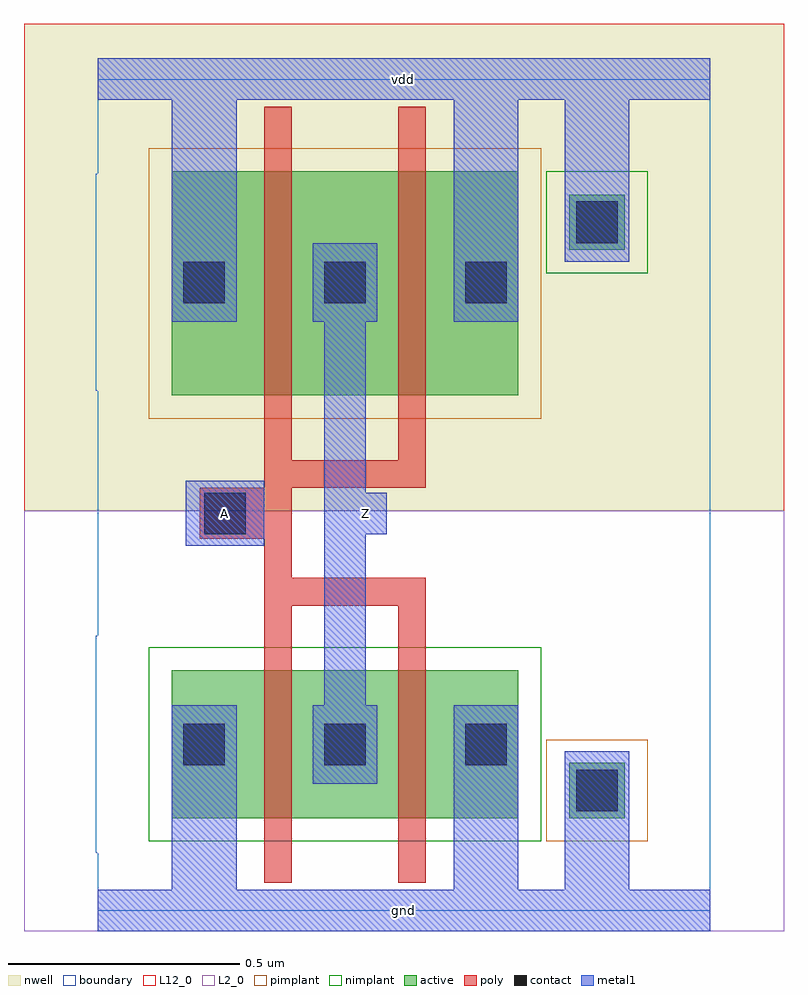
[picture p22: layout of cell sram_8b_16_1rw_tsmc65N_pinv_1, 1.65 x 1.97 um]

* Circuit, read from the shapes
.subckt sram_8b_16_1rw_tsmc65N_pinv_1 A Z gnd vdd
M1 Z A gnd gnd nfet w=0.32u l=0.06u m=2
M2 Z A vdd vdd pfet w=0.485u l=0.06u m=2
.ends

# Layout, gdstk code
import gdstk
lib = gdstk.Library(unit=1e-6, precision=1e-09)
def R(c, l, rs):  # rectangles x0, y0, x1, y1
    for r in rs: c.add(gdstk.rectangle(r[:2], r[2:], *l))
def A(c, l, x, y, w, h, nx, ny, dx, dy):  # array of equal rectangles
    R(c, l, [(x+i*dx, y+j*dy, x+i*dx+w, y+j*dy+h) for i in range(nx) for j in range(ny)])
L2_0 = (2, 0)
nwell = (3, 0)
active = (6, 0)
L12_0 = (12, 0)
poly = (17, 0)
pimplant = (25, 0)
nimplant = (26, 0)
contact = (30, 0)
metal1 = (31, 0)
boundary = (108, 0)

sram_8b_16_1rw_tsmc65n_c = lib.new_cell('sram_8b_16_1rw_tsmc65N_contact_11')
R(sram_8b_16_1rw_tsmc65n_c, nwell, [(-0.165,-0.15,0.305,0.32)])
R(sram_8b_16_1rw_tsmc65n_c, active, [(0.01,0.025,0.13,0.145)])
R(sram_8b_16_1rw_tsmc65n_c, pimplant, [(-0.04,-0.025,0.18,0.195)])
R(sram_8b_16_1rw_tsmc65n_c, contact, [(0.025,0.04,0.115,0.13)])
R(sram_8b_16_1rw_tsmc65n_c, metal1, [(0,0,0.14,0.17)])
R(sram_8b_16_1rw_tsmc65n_c, boundary, [(-0.165,-0.15,0.305,0.32)])

sram_8b_16_1rw_tsmc65n_p = lib.new_cell('sram_8b_16_1rw_tsmc65N_pmos_m2_w0_485_sm1_dm1_da_p')
R(sram_8b_16_1rw_tsmc65n_p, nwell, [(-0.16,-0.16,0.91,0.645)])
R(sram_8b_16_1rw_tsmc65n_p, active, [(0,0,0.75,0.485)])
R(sram_8b_16_1rw_tsmc65n_p, L12_0, [(-0.16,-0.16,0.91,0.645)])
R(sram_8b_16_1rw_tsmc65n_p, poly, [(0.2,-0.2,0.55,-0.14), (0.2,-0.14,0.26,0.625), (0.49,-0.14,0.55,0.625)])
R(sram_8b_16_1rw_tsmc65n_p, pimplant, [(-0.05,-0.05,0.8,0.535)])
A(sram_8b_16_1rw_tsmc65n_p, metal1, 0, 0.16, 0.14, 0.17, 3, 1, 0.305, 0)
R(sram_8b_16_1rw_tsmc65n_p, boundary, [(-0.16,-0.2,0.91,0.645)])
sram_8b_16_1rw_tsmc65n_p.add(gdstk.Reference(sram_8b_16_1rw_tsmc65n_c, (0,0.16)))
sram_8b_16_1rw_tsmc65n_p.add(gdstk.Reference(sram_8b_16_1rw_tsmc65n_c, (0.305,0.16)))
sram_8b_16_1rw_tsmc65n_p.add(gdstk.Reference(sram_8b_16_1rw_tsmc65n_c, (0.61,0.16)))
sram_8b_16_1rw_tsmc65n_p.add(gdstk.Label('G', (0.375,-0.17), layer=17, texttype=0))
sram_8b_16_1rw_tsmc65n_p.add(gdstk.Label('S', (0.07,0.245), layer=31, texttype=0))
sram_8b_16_1rw_tsmc65n_p.add(gdstk.Label('S', (0.68,0.245), layer=31, texttype=0))
sram_8b_16_1rw_tsmc65n_p.add(gdstk.Label('D', (0.375,0.245), layer=31, texttype=0))

c_sram_8b_16_1rw_tsmc65n_c = lib.new_cell('sram_8b_16_1rw_tsmc65N_contact_10')
R(c_sram_8b_16_1rw_tsmc65n_c, L2_0, [(-0.165,-0.15,0.305,0.32)])
R(c_sram_8b_16_1rw_tsmc65n_c, active, [(0.01,0.025,0.13,0.145)])
R(c_sram_8b_16_1rw_tsmc65n_c, nimplant, [(-0.04,-0.025,0.18,0.195)])
R(c_sram_8b_16_1rw_tsmc65n_c, contact, [(0.025,0.04,0.115,0.13)])
R(c_sram_8b_16_1rw_tsmc65n_c, metal1, [(0,0,0.14,0.17)])
R(c_sram_8b_16_1rw_tsmc65n_c, boundary, [(-0.165,-0.15,0.305,0.32)])

sram_8b_16_1rw_tsmc65n_n = lib.new_cell('sram_8b_16_1rw_tsmc65N_nmos_m2_w0_320_sm1_dm1_da_p')
R(sram_8b_16_1rw_tsmc65n_n, L2_0, [(-0.16,-0.16,0.91,0.48)])
R(sram_8b_16_1rw_tsmc65n_n, active, [(0,0,0.75,0.32)])
R(sram_8b_16_1rw_tsmc65n_n, L12_0, [(-0.16,-0.16,0.91,0.48)])
R(sram_8b_16_1rw_tsmc65n_n, poly, [(0.2,-0.14,0.26,0.46), (0.49,-0.14,0.55,0.46), (0.2,0.46,0.55,0.52)])
R(sram_8b_16_1rw_tsmc65n_n, nimplant, [(-0.05,-0.05,0.8,0.37)])
A(sram_8b_16_1rw_tsmc65n_n, metal1, 0, 0.075, 0.14, 0.17, 3, 1, 0.305, 0)
R(sram_8b_16_1rw_tsmc65n_n, boundary, [(-0.16,-0.16,0.91,0.52)])
sram_8b_16_1rw_tsmc65n_n.add(gdstk.Reference(c_sram_8b_16_1rw_tsmc65n_c, (0,0.075)))
sram_8b_16_1rw_tsmc65n_n.add(gdstk.Reference(c_sram_8b_16_1rw_tsmc65n_c, (0.305,0.075)))
sram_8b_16_1rw_tsmc65n_n.add(gdstk.Reference(c_sram_8b_16_1rw_tsmc65n_c, (0.61,0.075)))
sram_8b_16_1rw_tsmc65n_n.add(gdstk.Label('G', (0.375,0.49), layer=17, texttype=0))
sram_8b_16_1rw_tsmc65n_n.add(gdstk.Label('S', (0.68,0.16), layer=31, texttype=0))
sram_8b_16_1rw_tsmc65n_n.add(gdstk.Label('S', (0.07,0.16), layer=31, texttype=0))
sram_8b_16_1rw_tsmc65n_n.add(gdstk.Label('D', (0.375,0.16), layer=31, texttype=0))

c_sram_8b_16_1rw_tsmc65n_c_ = lib.new_cell('sram_8b_16_1rw_tsmc65N_contact_12')
R(c_sram_8b_16_1rw_tsmc65n_c_, nwell, [(-0.165,-0.15,0.305,0.32)])
R(c_sram_8b_16_1rw_tsmc65n_c_, active, [(0.01,0.025,0.13,0.145)])
R(c_sram_8b_16_1rw_tsmc65n_c_, nimplant, [(-0.04,-0.025,0.18,0.195)])
R(c_sram_8b_16_1rw_tsmc65n_c_, contact, [(0.025,0.04,0.115,0.13)])
R(c_sram_8b_16_1rw_tsmc65n_c_, metal1, [(0,0,0.14,0.17)])
R(c_sram_8b_16_1rw_tsmc65n_c_, boundary, [(-0.165,-0.15,0.305,0.32)])

c_sram_8b_16_1rw_tsmc65n_c__ = lib.new_cell('sram_8b_16_1rw_tsmc65N_contact_13')
R(c_sram_8b_16_1rw_tsmc65n_c__, L2_0, [(-0.165,-0.15,0.305,0.32)])
R(c_sram_8b_16_1rw_tsmc65n_c__, active, [(0.01,0.025,0.13,0.145)])
R(c_sram_8b_16_1rw_tsmc65n_c__, pimplant, [(-0.04,-0.025,0.18,0.195)])
R(c_sram_8b_16_1rw_tsmc65n_c__, contact, [(0.025,0.04,0.115,0.13)])
R(c_sram_8b_16_1rw_tsmc65n_c__, metal1, [(0,0,0.14,0.17)])
R(c_sram_8b_16_1rw_tsmc65n_c__, boundary, [(-0.165,-0.15,0.305,0.32)])

c_sram_8b_16_1rw_tsmc65n_c___ = lib.new_cell('sram_8b_16_1rw_tsmc65N_contact_14')
R(c_sram_8b_16_1rw_tsmc65n_c___, poly, [(0.03,0.015,0.14,0.125)])
R(c_sram_8b_16_1rw_tsmc65n_c___, contact, [(0.04,0.025,0.13,0.115)])
R(c_sram_8b_16_1rw_tsmc65n_c___, metal1, [(0,0,0.17,0.14)])
R(c_sram_8b_16_1rw_tsmc65n_c___, boundary, [(0,0,0.17,0.14)])

c_sram_8b_16_1rw_tsmc65n_p = lib.new_cell('sram_8b_16_1rw_tsmc65N_pinv_1')
R(c_sram_8b_16_1rw_tsmc65n_p, L2_0, [(-0.16,-0.045,1.485,0.865)])
R(c_sram_8b_16_1rw_tsmc65n_p, nwell, [(-0.16,0.865,1.485,1.92)])
R(c_sram_8b_16_1rw_tsmc65n_p, L12_0, [(-0.16,-0.045,1.485,0.865), (-0.16,0.865,1.485,1.92)])
R(c_sram_8b_16_1rw_tsmc65n_p, poly, [(0.36,0.72,0.42,0.915), (0.275,0.805,0.36,0.915)])
R(c_sram_8b_16_1rw_tsmc65n_p, metal1, [(0,-0.045,1.325,0.045), (0.16,-0.045,0.3,0.275), (0.77,-0.045,0.91,0.275), (1.01,0,1.15,0.26), (0.49,0.275,0.58,1.445), (0.19,0.79,0.36,0.93), (0.535,0.815,0.625,0.905), (0.16,1.275,0.3,1.845), (0.77,1.275,0.91,1.845), (1.01,1.49,1.15,1.8), (0,1.755,1.325,1.845)])
R(c_sram_8b_16_1rw_tsmc65n_p, boundary, [(0,0,1.325,1.8), (0,0,1.325,1.8)])
c_sram_8b_16_1rw_tsmc65n_p.add(gdstk.Reference(sram_8b_16_1rw_tsmc65n_p, (0.16,1.115)))
c_sram_8b_16_1rw_tsmc65n_p.add(gdstk.Reference(sram_8b_16_1rw_tsmc65n_n, (0.16,0.2)))
c_sram_8b_16_1rw_tsmc65n_p.add(gdstk.Reference(c_sram_8b_16_1rw_tsmc65n_c_, (1.01,1.405)))
c_sram_8b_16_1rw_tsmc65n_p.add(gdstk.Reference(c_sram_8b_16_1rw_tsmc65n_c__, (1.01,0.175)))
c_sram_8b_16_1rw_tsmc65n_p.add(gdstk.Reference(c_sram_8b_16_1rw_tsmc65n_c___, (0.19,0.79)))
c_sram_8b_16_1rw_tsmc65n_p.add(gdstk.Label('A', (0.275,0.86), layer=31, texttype=0))
c_sram_8b_16_1rw_tsmc65n_p.add(gdstk.Label('Z', (0.58,0.86), layer=31, texttype=0))
c_sram_8b_16_1rw_tsmc65n_p.add(gdstk.Label('gnd', (0.662,0), layer=31, texttype=0))
c_sram_8b_16_1rw_tsmc65n_p.add(gdstk.Label('vdd', (0.662,1.8), layer=31, texttype=0))

lib.write_gds('sram_8b_16_1rw_tsmc65N_pinv_1.gds')
